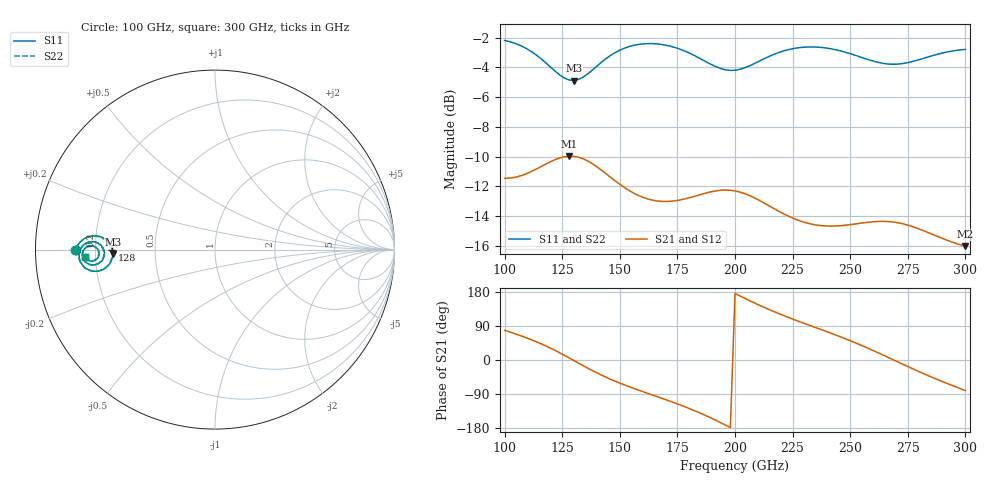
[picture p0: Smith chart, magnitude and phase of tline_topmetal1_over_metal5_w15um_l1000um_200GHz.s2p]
#  GHZ S DB R 50
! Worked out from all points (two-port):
!   101 points, 100 GHz to 300 GHz, reference 50 ohm
!   highest |S21| = -9.98 dB at 128 GHz (marker M1); lowest = -16.0 dB at 300 GHz (marker M2)
!   |S21| within 3 dB of the highest: start of sweep to 165.7 GHz; 174.1 GHz to 210.8 GHz (36.76 GHz wide, 19.1 % of centre)
!   lowest |S11| = -4.9 dB at 130 GHz (marker M3), VSWR 3.65, Z = 13.7 - j0.96 ohm
!   |S11| at or under -10 dB: nowhere
!   |S22| runs from -4.8 to -2.2 dB; largest |S21 - S12| = 3.3e-14
!   S11 on the Smith chart (normalised r, x): 100 GHz: 0.13, -0.00; 128 GHz: 0.27, -0.00; 300 GHz: 0.16, -0.03
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100  -2.20 -180.0  -11.47 78.3  -11.47 78.3  -2.19 -179.8
110  -2.79 174.9  -11.12 57.2  -11.12 57.2  -2.77 175.1
116  -3.45 173.4  -10.66 42.3  -10.66 42.3  -3.42 173.6
122  -4.27 174.7  -10.20 25.0  -10.20 25.0  -4.24 174.9
128  -4.86 -180.0  -9.98 5.6  -9.98 5.6  -4.81 -179.9
130  -4.89 -177.6  -9.98 -1.1  -9.98 -1.1  -4.84 -177.5
134  -4.67 -173.3  -10.15 -14.6  -10.15 -14.6  -4.63 -173.3
140  -3.93 -169.8  -10.69 -33.7  -10.69 -33.7  -3.89 -169.9
148  -3.01 -170.6  -11.64 -55.9  -11.64 -55.9  -2.99 -170.6
158  -2.47 -174.9  -12.61 -79.2  -12.61 -79.2  -2.45 -174.9
168  -2.46 -179.5  -13.02 -100.5  -13.02 -100.5  -2.44 -179.4
184  -3.34 176.2  -12.61 -137.8  -12.61 -137.8  -3.31 176.4
192  -3.98 178.0  -12.30 -160.0  -12.30 -160.0  -3.94 178.1
200  -4.20 -177.2  -12.31 175.8  -12.31 175.8  -4.15 -177.2
208  -3.78 -173.4  -12.75 151.9  -12.75 151.9  -3.74 -173.4
216  -3.19 -172.9  -13.42 130.0  -13.42 130.0  -3.16 -173.0
234  -2.63 -177.9  -14.57 87.8  -14.57 87.8  -2.61 -177.9
252  -3.18 178.2  -14.54 45.9  -14.54 45.9  -3.16 178.2
268  -3.80 -178.4  -14.39 2.5  -14.39 2.5  -3.76 -178.5
276  -3.65 -175.7  -14.66 -20.0  -14.66 -20.0  -3.62 -175.8
284  -3.30 -174.7  -15.12 -41.6  -15.12 -41.6  -3.27 -174.8
300  -2.80 -176.9  -16.03 -80.6  -16.03 -80.6  -2.79 -176.9
